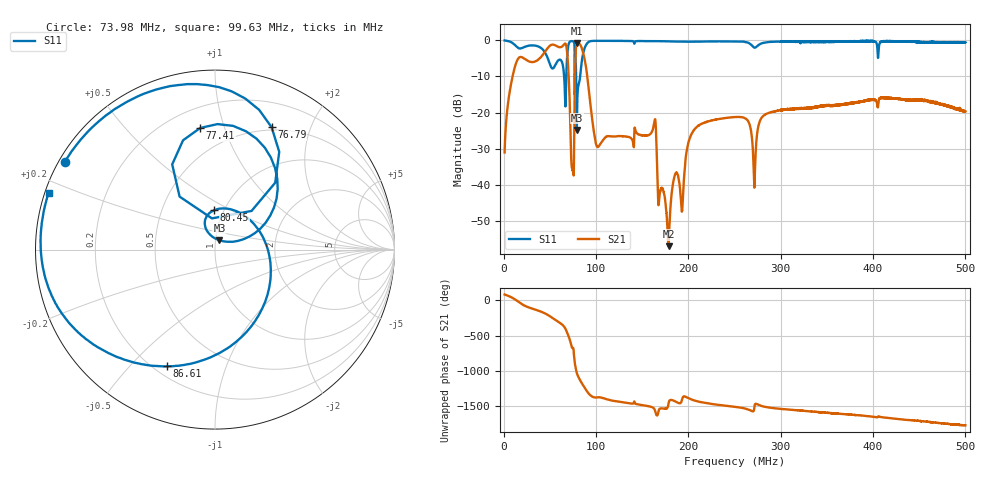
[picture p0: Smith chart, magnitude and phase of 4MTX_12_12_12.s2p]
! NanoVNA-App
! Date: 2026-08-18 21:04:41
! Start: 1MHz Stop: 500MHz Points: 6401
! S-Parameter data: F S11 S21 S12 S22
# Hz S RI R 50
!  Frequency  S11_Real  S11_Imag  S21_Real  S21_Imag  S12_Real  S12_Imag  S22_Real  S22_Imag
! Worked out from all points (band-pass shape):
!   6401 points, 1 MHz to 500 MHz, reference 50 ohm
!   highest |S21| = -0.80 dB at 79.36 MHz (marker M1); lowest = -56.8 dB at 178.5 MHz (marker M2)
!   |S21| within 3 dB of the highest: 43.1 MHz to 68.86 MHz (25.76 MHz wide, 46 % of centre); 77.88 MHz to 86.34 MHz (8.464 MHz wide, 10.3 % of centre)
!   lowest |S11| = -24.8 dB at 79.12 MHz (marker M3), VSWR 1.12, Z = 52.2 + j5.47 ohm
!   |S11| at or under -10 dB: 65.46 MHz to 67.81 MHz (2.346 MHz wide, 3.52 % of centre); 77.00995 MHz to 77.16273 MHz (152.8 kHz wide, 0.198 % of centre); 78.43 MHz to 82.78 MHz (4.347 MHz wide, 5.39 % of centre)
!   S12 and S22 are empty: the file has one direction only
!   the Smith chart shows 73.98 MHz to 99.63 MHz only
!   S11 on the Smith chart (normalised r, x): 73.98 MHz: 0.02, +0.27; 76.79 MHz: 0.47, +1.46; 77.41 MHz: 0.33, +0.83; 80.45 MHz: 0.90, +0.42; 86.61 MHz: 0.25, -0.64; 99.63 MHz: 0.01, +0.17
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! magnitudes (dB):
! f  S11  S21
! 1 MHz  -0.1  -31.0
! 15.42 MHz  -2.1  -5.2
! 65.56 MHz  -10.4  -1.1
! 73.98 MHz  -0.3  -35.3
! 76.79 MHz  -2.5  -13.3
! 77.41 MHz  -3.3  -7.8
! 79.12 MHz  -24.8  -0.8
! 79.36 MHz  -21.4  -0.8
! 80.45 MHz  -13.2  -0.9
! 84.19 MHz  -6.6  -1.9
! 86.61 MHz  -3.1  -4.1
! 99.63 MHz  -0.2  -28.3
! 162.6 MHz  -0.3  -23.5
! 167.4 MHz  -0.3  -44.9
! 178.5 MHz  -0.3  -56.8
! 205 MHz  -0.4  -25.2
! 250.5 MHz  -0.4  -21.2
! 271.5 MHz  -2.1  -40.7
! 281.6 MHz  -0.7  -20.8
! 333.7 MHz  -0.4  -18.7
! 416.9 MHz  -0.3  -16.0
! 500 MHz  -0.6  -19.7
